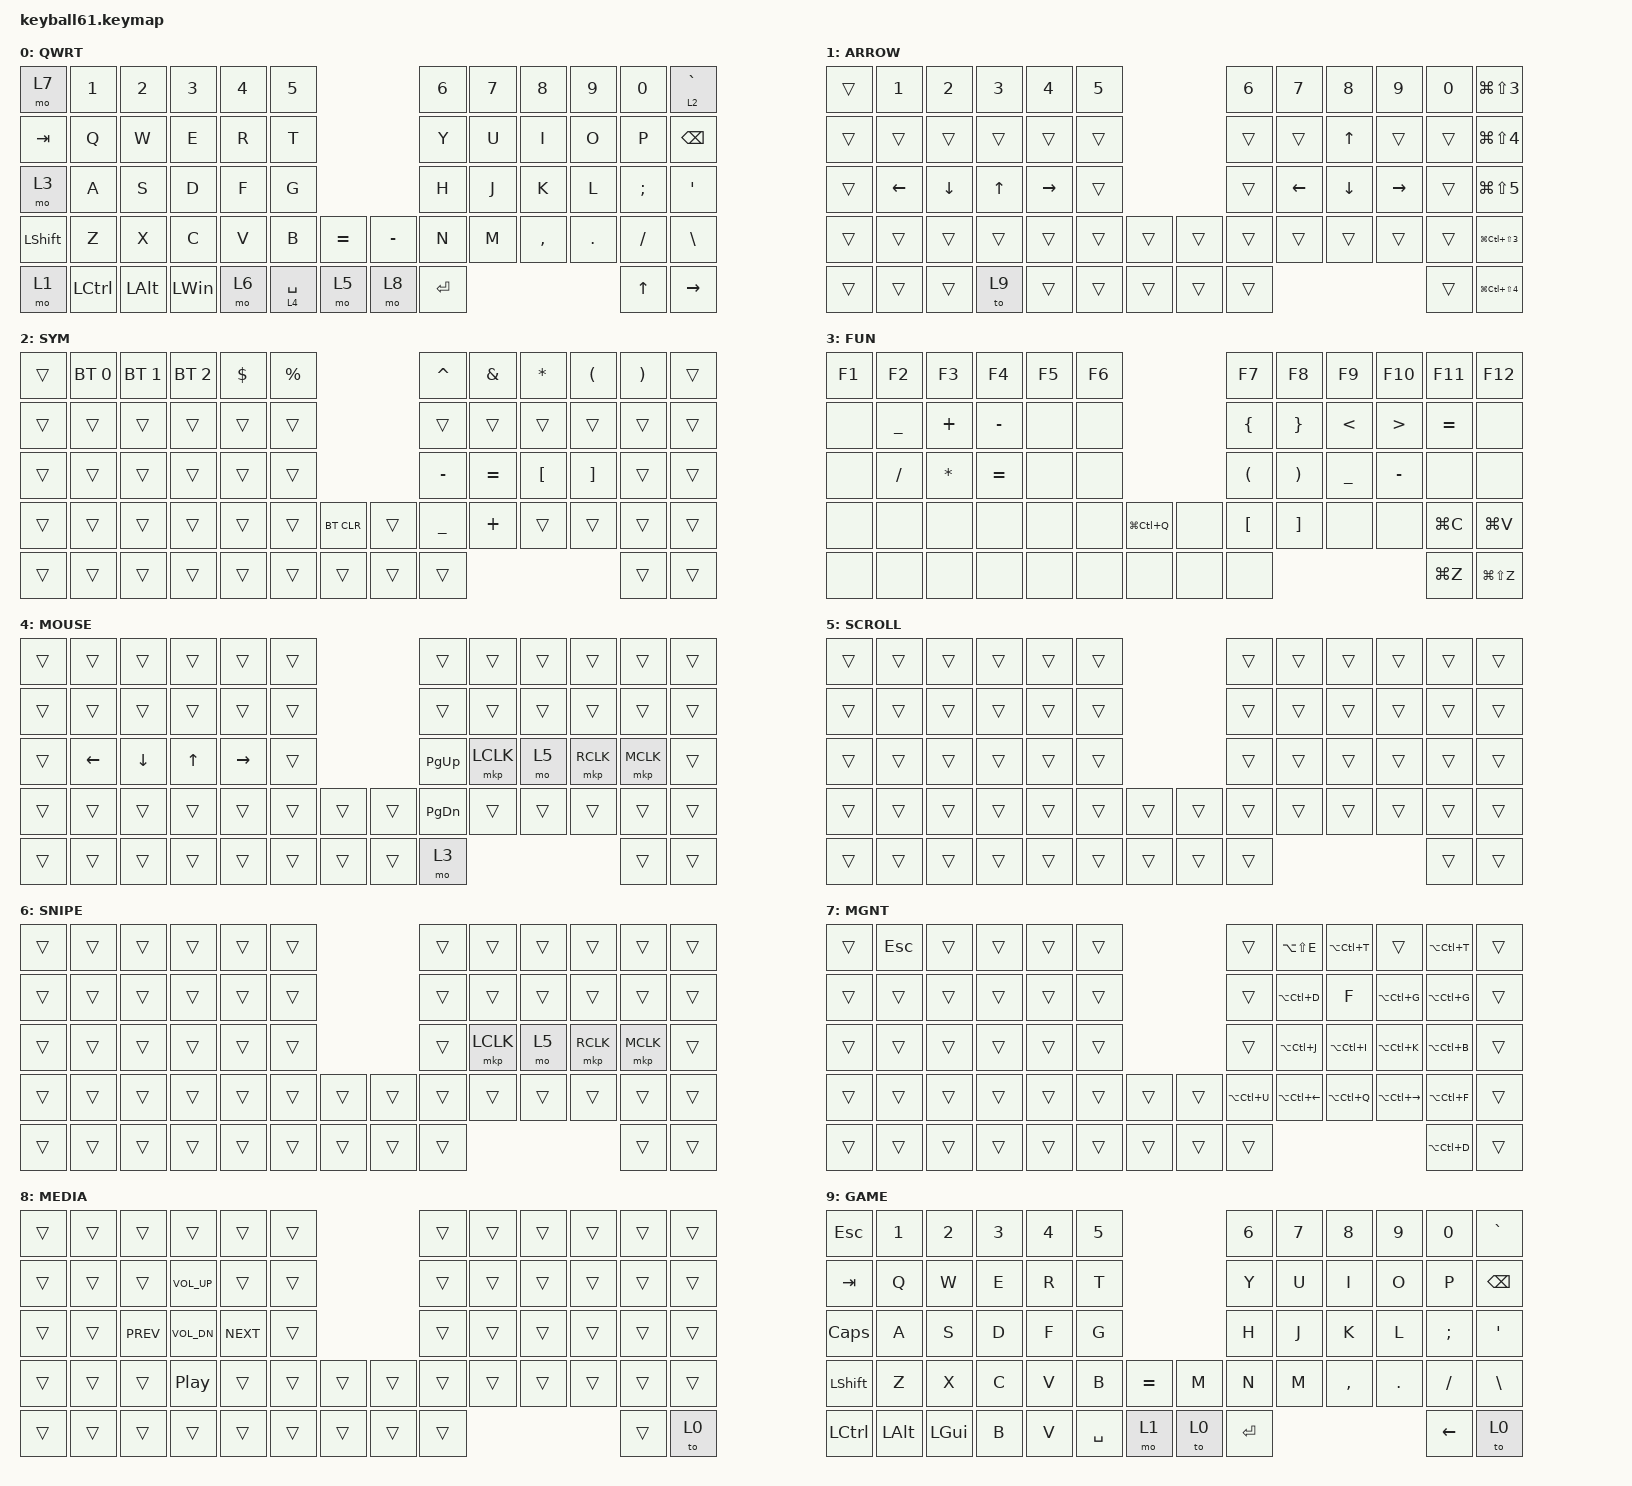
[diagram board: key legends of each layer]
#define DEFAULT 0
#define SYM     1
#define FUN     2
#define MOUSE   3
#define SCROLL  4
#define SNIPE   5

#include <behaviors/mouse_keys.dtsi>
#include <dt-bindings/zmk/mouse.h>
#include <behaviors.dtsi>
#include <dt-bindings/zmk/bt.h>
#include <dt-bindings/zmk/keys.h>
#include <dt-bindings/zmk/pointing.h>

&nice_view_spi { cs-gpios = <&pro_micro 1 GPIO_ACTIVE_HIGH>; };

&lt {
    tapping-term-ms = <240>;
    flavor = "balanced";
    quick-tap-ms = <150>;
};

&mt {
    tapping-term-ms = <200>;
    flavor = "tap-preferred";
    quick-tap-ms = <150>;
};

/ {
    keymap {
        compatible = "zmk,keymap";

        default_layer {
            label = "QWRT";
            bindings = <
&mo 7           &kp N1     &kp N2        &kp N3        &kp N4  &kp N5                             &kp N6     &kp N7  &kp N8     &kp N9   &kp N0    &lt 2 GRAVE
&kp TAB         &kp Q      &kp W         &kp E         &kp R   &kp T                              &kp Y      &kp U   &kp I      &kp O    &kp P     &kp BACKSPACE
&mo 3           &kp A      &kp S         &kp D         &kp F   &kp G                              &kp H      &kp J   &kp K      &kp L    &kp SEMI  &kp SINGLE_QUOTE
&kp LEFT_SHIFT  &kp Z      &kp X         &kp C         &kp V   &kp B        &kp EQUAL  &kp MINUS  &kp N      &kp M   &kp COMMA  &kp DOT  &kp FSLH  &kp BACKSLASH
&mo 1           &kp LCTRL  &kp LEFT_ALT  &kp LEFT_WIN  &mo 6   &lt 4 SPACE  &mo 5      &mo 8      &kp ENTER                              &kp UP    &kp RIGHT
            >;
        };

        arrow {
            bindings = <
&trans  &kp N1    &kp N2    &kp N3  &kp N4     &kp N5                  &kp N6  &kp N7    &kp N8    &kp N9     &kp N0  &kp LG(LS(N3))
&trans  &trans    &trans    &trans  &trans     &trans                  &trans  &trans    &kp UP    &trans     &trans  &kp LG(LS(N4))
&trans  &kp LEFT  &kp DOWN  &kp UP  &kp RIGHT  &trans                  &trans  &kp LEFT  &kp DOWN  &kp RIGHT  &trans  &kp LG(LS(N5))
&trans  &trans    &trans    &trans  &trans     &trans  &trans  &trans  &trans  &trans    &trans    &trans     &trans  &kp LG(LC(LS(N3)))
&trans  &trans    &trans    &to 9   &trans     &trans  &trans  &trans  &trans                                 &trans  &kp LG(LC(LS(N4)))
            >;

            label = "ARROW";
        };

        symbol_layer {
            label = "SYM";
            bindings = <
&trans  &bt BT_SEL 0  &bt BT_SEL 1  &bt BT_SEL 2  &kp DOLLAR  &kp PERCENT                      &kp CARET       &kp AMPERSAND  &kp ASTERISK      &kp LEFT_PARENTHESIS  &kp RIGHT_PARENTHESIS  &trans
&trans  &trans        &trans        &trans        &trans      &trans                           &trans          &trans         &trans            &trans                &trans                 &trans
&trans  &trans        &trans        &trans        &trans      &trans                           &kp MINUS       &kp EQUAL      &kp LEFT_BRACKET  &kp RIGHT_BRACKET     &trans                 &trans
&trans  &trans        &trans        &trans        &trans      &trans       &bt BT_CLR  &trans  &kp UNDERSCORE  &kp PLUS       &trans            &trans                &trans                 &trans
&trans  &trans        &trans        &trans        &trans      &trans       &trans      &trans  &trans                                                                 &trans                 &trans
            >;
        };

        function_layer {
            label = "FUN";
            bindings = <
&kp F1  &kp F2          &kp F3        &kp F4     &kp F5  &kp F6                        &kp F7                &kp F8                 &kp F9          &kp F10           &kp F11    &kp F12
&none   &kp UNDERSCORE  &kp PLUS      &kp MINUS  &none   &none                         &kp LEFT_BRACE        &kp RIGHT_BRACE        &kp LESS_THAN   &kp GREATER_THAN  &kp EQUAL  &none
&none   &kp SLASH       &kp ASTERISK  &kp EQUAL  &none   &none                         &kp LEFT_PARENTHESIS  &kp RIGHT_PARENTHESIS  &kp UNDERSCORE  &kp MINUS         &none      &none
&none   &none           &none         &none      &none   &none   &kp LG(LC(Q))  &none  &kp LEFT_BRACKET      &kp RIGHT_BRACKET      &none           &none             &kp LG(C)  &kp LG(V)
&none   &none           &none         &none      &none   &none   &none          &none  &none                                                                          &kp LG(Z)  &kp LG(LS(Z))
            >;
        };

        mouse_layer {
            label = "MOUSE";
            bindings = <
&trans  &trans    &trans    &trans  &trans     &trans                  &trans         &trans     &trans  &trans     &trans     &trans
&trans  &trans    &trans    &trans  &trans     &trans                  &trans         &trans     &trans  &trans     &trans     &trans
&trans  &kp LEFT  &kp DOWN  &kp UP  &kp RIGHT  &trans                  &kp PAGE_UP    &mkp LCLK  &mo 5   &mkp RCLK  &mkp MCLK  &trans
&trans  &trans    &trans    &trans  &trans     &trans  &trans  &trans  &kp PAGE_DOWN  &trans     &trans  &trans     &trans     &trans
&trans  &trans    &trans    &trans  &trans     &trans  &trans  &trans  &mo 3                                        &trans     &trans
            >;
        };

        scroll_layer {
            label = "SCROLL";
            bindings = <
&trans  &trans  &trans  &trans  &trans  &trans                  &trans  &trans  &trans  &trans  &trans  &trans
&trans  &trans  &trans  &trans  &trans  &trans                  &trans  &trans  &trans  &trans  &trans  &trans
&trans  &trans  &trans  &trans  &trans  &trans                  &trans  &trans  &trans  &trans  &trans  &trans
&trans  &trans  &trans  &trans  &trans  &trans  &trans  &trans  &trans  &trans  &trans  &trans  &trans  &trans
&trans  &trans  &trans  &trans  &trans  &trans  &trans  &trans  &trans                          &trans  &trans
            >;
        };

        snipe_layer {
            label = "SNIPE";
            bindings = <
&trans  &trans  &trans  &trans  &trans  &trans                  &trans  &trans     &trans  &trans     &trans     &trans
&trans  &trans  &trans  &trans  &trans  &trans                  &trans  &trans     &trans  &trans     &trans     &trans
&trans  &trans  &trans  &trans  &trans  &trans                  &trans  &mkp LCLK  &mo 5   &mkp RCLK  &mkp MCLK  &trans
&trans  &trans  &trans  &trans  &trans  &trans  &trans  &trans  &trans  &trans     &trans  &trans     &trans     &trans
&trans  &trans  &trans  &trans  &trans  &trans  &trans  &trans  &trans                              &trans     &trans
            >;
        };

        magnet_layer {
            bindings = <
&trans  &kp ESC  &trans  &trans  &trans  &trans                  &trans         &kp LA(LS(E))           &kp LA(LC(T))  &trans                   &kp LA(LC(T))  &trans
&trans  &trans   &trans  &trans  &trans  &trans                  &trans         &kp LA(LC(D))           &kp F          &kp LA(LC(G))            &kp LA(LC(G))  &trans
&trans  &trans   &trans  &trans  &trans  &trans                  &trans         &kp LA(LC(J))           &kp LA(LC(I))  &kp LA(LC(K))            &kp LA(LC(B))  &trans
&trans  &trans   &trans  &trans  &trans  &trans  &trans  &trans  &kp LA(LC(U))  &kp LA(LC(LEFT_ARROW))  &kp LA(LC(Q))  &kp LA(LC(RIGHT_ARROW))  &kp LA(LC(F))  &trans
&trans  &trans   &trans  &trans  &trans  &trans  &trans  &trans  &trans                                                                         &kp LA(LC(D))  &trans
            >;

            label = "MGNT";
        };

        media {
            bindings = <
&trans  &trans  &trans      &trans            &trans      &trans                  &trans  &trans  &trans  &trans  &trans  &trans
&trans  &trans  &trans      &kp C_VOL_UP      &trans      &trans                  &trans  &trans  &trans  &trans  &trans  &trans
&trans  &trans  &kp C_PREV  &kp C_VOL_DN      &kp C_NEXT  &trans                  &trans  &trans  &trans  &trans  &trans  &trans
&trans  &trans  &trans      &kp C_PLAY_PAUSE  &trans      &trans  &trans  &trans  &trans  &trans  &trans  &trans  &trans  &trans
&trans  &trans  &trans      &trans            &trans      &trans  &trans  &trans  &trans                          &trans  &to 0
            >;

            label = "MEDIA";
        };

        gaming {
            bindings = <
&kp ESC     &kp N1    &kp N2    &kp N3  &kp N4  &kp N5                       &kp N6     &kp N7  &kp N8     &kp N9   &kp N0    &kp GRAVE
&kp TAB     &kp Q     &kp W     &kp E   &kp R   &kp T                        &kp Y      &kp U   &kp I      &kp O    &kp P     &kp BACKSPACE
&kp CAPS    &kp A     &kp S     &kp D   &kp F   &kp G                        &kp H      &kp J   &kp K      &kp L    &kp SEMI  &kp SINGLE_QUOTE
&kp LSHIFT  &kp Z     &kp X     &kp C   &kp V   &kp B      &kp EQUAL  &kp M  &kp N      &kp M   &kp COMMA  &kp DOT  &kp FSLH  &kp BACKSLASH
&kp LCTRL   &kp LALT  &kp LGUI  &kp B   &kp V   &kp SPACE  &mo 1      &to 0  &kp ENTER                              &kp LEFT  &to 0
            >;

            label = "GAME";
        };
    };
};
